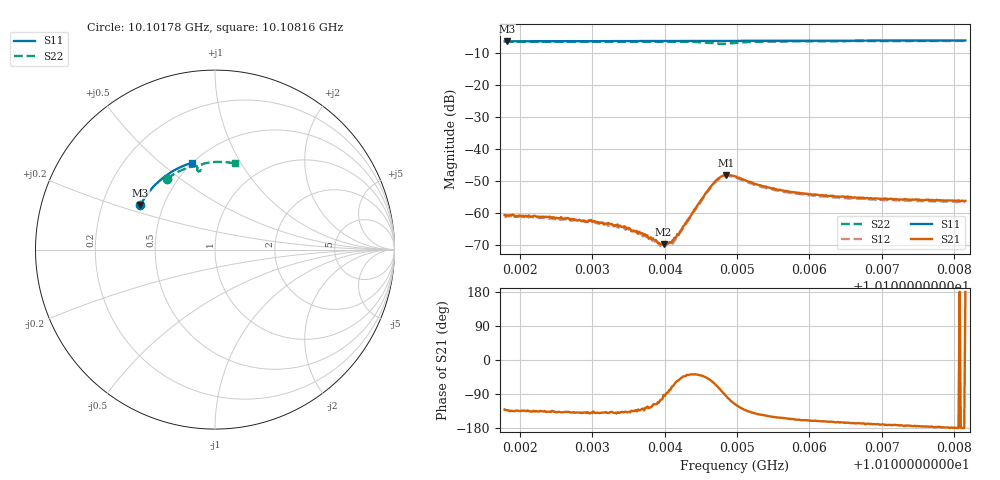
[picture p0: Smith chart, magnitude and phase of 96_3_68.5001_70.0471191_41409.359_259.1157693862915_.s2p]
#  HZ  S  RI  R  50.00
! Rohde & Schwarz Vector Network Analyzer
! Rohde-Schwarz,ZNB20-2Port,1311601062101988,3.16
! Created: UTC 3/20/2024, 5:08:01 PM
! freq[Hz]  re:S11  im:S11  re:S21  im:S21  re:S12  im:S12  re:S22  im:S22
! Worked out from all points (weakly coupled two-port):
!   401 points, 10.10178 GHz to 10.10816 GHz, reference 50 ohm
!   highest |S21| = -48.09 dB at 10.10484 GHz (marker M1); lowest = -69.9 dB at 10.10398 GHz (marker M2)
!   lowest |S11| = -6.3 dB at 10.10182 GHz (marker M3), VSWR 2.88, Z = 18.5 + j12 ohm
!   |S11| at or under -10 dB: nowhere
!   |S22| runs from -7.0 to -6.2 dB; largest |S21 - S12| = 0.00041
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1.0101784e10  -0.4169 0.2464  -0.000604 -0.000702  -0.000558 -0.000687  -0.2671 0.3948
1.0101816e10  -0.4159 0.2481  -0.000619 -0.000676  -0.000551 -0.000703  -0.2655 0.3959
1.010239e10  -0.3984 0.2784  -0.000628 -0.000598  -0.000565 -0.000595  -0.2345 0.4168
1.0102852e10  -0.3829 0.3017  -0.00057 -0.000477  -0.000517 -0.000544  -0.2081 0.4319
1.0102995e10  -0.3779 0.3088  -0.000554 -0.000468  -0.000527 -0.000518  -0.1996 0.4364
1.0103473e10  -0.3599 0.3316  -0.00042 -0.00038  -0.000383 -0.000426  -0.1702 0.4498
1.0103728e10  -0.3497 0.3433  -0.000274 -0.000371  -0.000245 -0.000369  -0.1535 0.4559
1.0103919e10  -0.3419 0.3519  -0.000125 -0.000304  -7.98e-05 -0.000324  -0.14 0.4599
1.0103983e10  -0.3392 0.3546  -1.21e-05 -0.000321  -4.8e-07 -0.000338  -0.1354 0.4611
1.0104079e10  -0.3352 0.3589  6.94e-05 -0.000334  0.000103 -0.00032  -0.1281 0.4625
1.0104143e10  -0.3324 0.3616  0.000198 -0.000357  0.000209 -0.000312  -0.1232 0.4633
1.0104222e10  -0.3291 0.365  0.000356 -0.000397  0.000378 -0.000333  -0.1166 0.4641
1.0104525e10  -0.3157 0.3776  0.00129 -0.00116  0.00133 -0.001  -0.0891 0.4586
1.0104652e10  -0.31 0.3826  0.00149 -0.00228  0.00165 -0.00205  -0.0811 0.4478
1.0104748e10  -0.3055 0.3863  0.000975 -0.00338  0.00122 -0.00315  -0.0836 0.4377
1.0104844e10  -0.3012 0.3901  -0.0003 -0.00393  5.79e-05 -0.00376  -0.0929 0.4358
1.0104971e10  -0.2955 0.395  -0.00168 -0.00334  -0.0013 -0.00334  -0.0994 0.4468
1.0105433e10  -0.2733 0.4124  -0.00213 -0.00131  -0.00189 -0.00145  -0.0712 0.4752
1.0105736e10  -0.2582 0.4226  -0.00194 -0.00091  -0.0018 -0.00103  -0.0492 0.4816
1.0106039e10  -0.2427 0.4326  -0.00183 -0.000652  -0.0017 -0.000779  -0.0282 0.4854
1.0107106e10  -0.1855 0.4625  -0.00162 -0.000256  -0.00153 -0.000395  0.0426 0.4881
1.0108158e10  -0.1258 0.4844  -0.00155 1.27e-05  -0.00147 -0.000161  0.11 0.48
